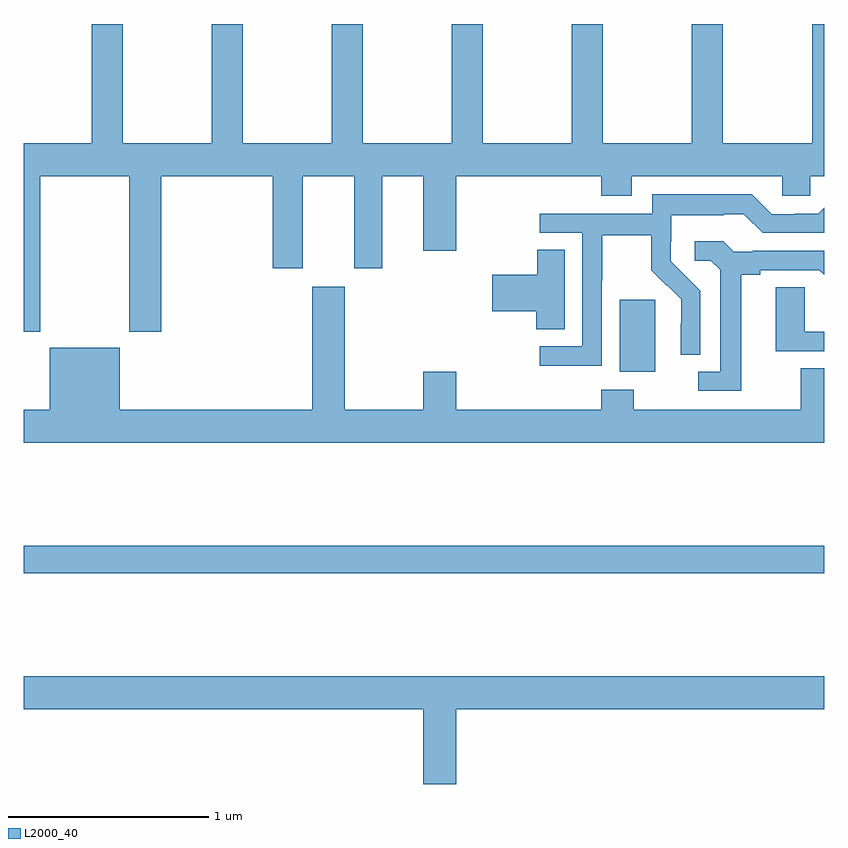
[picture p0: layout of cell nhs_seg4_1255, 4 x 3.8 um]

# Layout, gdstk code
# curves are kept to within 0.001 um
import gdstk
lib = gdstk.Library(unit=1e-6, precision=1e-09)
def R(c, l, rs):  # rectangles x0, y0, x1, y1
    for r in rs: c.add(gdstk.rectangle(r[:2], r[2:], *l))
def P(c, l, *ps):  # polygons
    for p in ps: c.add(gdstk.Polygon(p, *l))
L2000_40 = (2000, 40)

nhs_seg4_1255 = lib.new_cell('nhs_seg4_1255')
R(nhs_seg4_1255, L2000_40, [(175,808.156,179,808.292), (177.977,809.162,178.156,809.523)])
P(nhs_seg4_1255, L2000_40, [(175.083,810.14),(175.528,810.14),(175.528,809.361),(175.688,809.361),(175.688,810.14),(176.243,810.14),(176.243,809.679),(176.395,809.679),(176.395,810.14),(176.651,810.14),(176.651,809.679),(176.791,809.679),(176.791,810.14),(176.996,810.14),(176.996,809.766),(177.16,809.766),(177.16,810.14),(177.887,810.14),(177.887,810.041),(178.039,810.041),(178.039,810.14),(178.791,810.14),(178.791,810.042),(178.929,810.042),(178.929,810.14),(179,810.14),(179,810.9),(178.939,810.9),(178.939,810.304),(178.494,810.304),(178.494,810.9),(178.339,810.9),(178.339,810.304),(177.894,810.304),(177.894,810.9),(177.739,810.9),(177.739,810.304),(177.294,810.304),(177.294,810.9),(177.139,810.9),(177.139,810.304),(176.694,810.304),(176.694,810.9),(176.539,810.9),(176.539,810.304),(176.094,810.304),(176.094,810.9),(175.939,810.9),(175.939,810.304),(175.494,810.304),(175.494,810.9),(175.339,810.9),(175.339,810.304),(175,810.304),(175,809.361),(175.083,809.361)],
  [(177.888,809.62),(177.891,809.62),(177.891,809.844),(178.135,809.844),(178.135,809.669),(178.212,809.592),(178.215,809.595),(178.286,809.525),(178.286,809.402),(178.284,809.402),(178.284,809.248),(178.38,809.248),(178.38,809.566),(178.234,809.714),(178.234,809.811),(178.236,809.811),(178.236,809.945),(178.499,809.945),(178.499,809.949),(178.599,809.949),(178.692,809.856),(179,809.856),(179,809.981),(178.971,809.952),(178.853,809.952),(178.853,809.949),(178.737,809.949),(178.637,810.049),(178.14,810.049),(178.14,809.952),(177.579,809.952),(177.579,809.856),(177.792,809.856),(177.792,809.289),(177.579,809.289),(177.579,809.191),(177.888,809.191)],
  [(178.585,809.648),(178.681,809.648),(178.681,809.67),(178.976,809.67),(179,809.646),(179,809.766),(178.642,809.766),(178.642,809.763),(178.548,809.763),(178.496,809.815),(178.353,809.815),(178.353,809.718),(178.434,809.718),(178.481,809.671),(178.481,809.163),(178.371,809.163),(178.371,809.067),(178.585,809.067)],
  [(177.703,809.771),(177.565,809.771),(177.565,809.648),(177.342,809.648),(177.342,809.465),(177.56,809.465),(177.56,809.374),(177.703,809.374)],
  [(179,809.18),(178.883,809.18),(178.883,808.972),(178.047,808.972),(178.047,809.071),(177.887,809.071),(177.887,808.972),(177.16,808.972),(177.16,809.161),(176.996,809.161),(176.996,808.972),(176.605,808.972),(176.605,809.587),(176.441,809.587),(176.441,808.972),(175.48,808.972),(175.48,809.281),(175.13,809.281),(175.13,808.972),(175,808.972),(175,808.808),(179,808.808)],
  [(179,809.361),(178.902,809.361),(178.902,809.585),(178.757,809.585),(178.757,809.265),(179,809.265)],
  [(177.16,807.476),(179,807.476),(179,807.64),(175,807.64),(175,807.476),(176.996,807.476),(176.996,807.102),(177.16,807.102)])

lib.write_gds('nhs_seg4_1255.gds')
